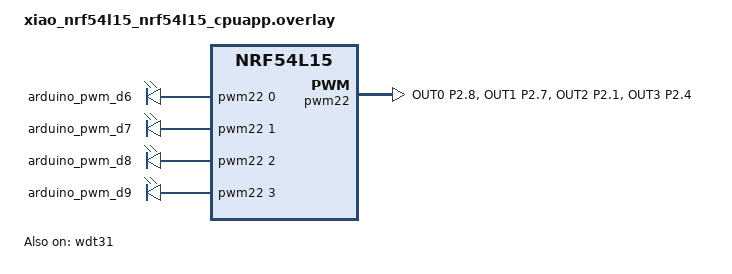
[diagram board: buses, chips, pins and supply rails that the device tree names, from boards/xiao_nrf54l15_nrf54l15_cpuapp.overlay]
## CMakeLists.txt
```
cmake_minimum_required(VERSION 3.20.0)
find_package(Zephyr REQUIRED HINTS $ENV{ZEPHYR_BASE})
project(arduino_base)

target_sources(app PRIVATE src/main.cpp)
```

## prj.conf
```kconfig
CONFIG_GPIO=y
CONFIG_ADC=y
CONFIG_I2C=y
CONFIG_SPI=y
CONFIG_PWM=y
CONFIG_COUNTER=y
CONFIG_I2S=y
CONFIG_SERIAL=y
CONFIG_UART_USE_RUNTIME_CONFIGURE=y
CONFIG_CONSOLE=y
CONFIG_UART_CONSOLE=y
CONFIG_PRINTK=y
CONFIG_WATCHDOG=y
CONFIG_AUDIO=y
CONFIG_AUDIO_DMIC=y

CONFIG_CPP=y
CONFIG_STD_CPP20=y
CONFIG_NEWLIB_LIBC=n

CONFIG_MAIN_STACK_SIZE=4096
CONFIG_HEAP_MEM_POOL_SIZE=8192
```

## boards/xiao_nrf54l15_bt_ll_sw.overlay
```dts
/ {
    chosen {
        zephyr,bt-hci = &bt_hci_controller;
    };
};

&bt_hci_controller {
    status = "okay";
};

&bt_hci_sdc {
    status = "disabled";
};
```

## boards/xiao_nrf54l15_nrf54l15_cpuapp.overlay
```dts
/ {
    aliases {
        arduino-adc = &arduino_adc_channels;
        pwm0 = &arduino_pwm_d6;
        pwm1 = &arduino_pwm_d7;
        pwm2 = &arduino_pwm_d8;
        pwm3 = &arduino_pwm_d9;
        arduino-dmic = &pdm20;
        arduino-counter = &grtc;
    };

    arduino_adc_channels: arduino_adc_channels {
        io-channels = <&adc 0>,
                      <&adc 1>,
                      <&adc 2>,
                      <&adc 3>,
                      <&adc 4>,
                      <&adc 5>,
                      <&adc 6>,
                      <&adc 7>;
    };

    arduino_pwm {
        compatible = "pwm-leds";

        arduino_pwm_d6: pwm_d6 {
            pwms = <&pwm22 0 2000000 0>;
        };

        arduino_pwm_d7: pwm_d7 {
            pwms = <&pwm22 1 2000000 0>;
        };

        arduino_pwm_d8: pwm_d8 {
            pwms = <&pwm22 2 2000000 0>;
        };

        arduino_pwm_d9: pwm_d9 {
            pwms = <&pwm22 3 2000000 0>;
        };
    };
};

&pwm22 {
    status = "okay";
    pinctrl-0 = <&pwm22_default>;
    pinctrl-1 = <&pwm22_sleep>;
    pinctrl-names = "default", "sleep";
};

&wdt31 {
    status = "okay";
};


&pinctrl {
    pwm22_default: pwm22_default {
        group1 {
            psels = <NRF_PSEL(PWM_OUT0, 2, 8)>,
                    <NRF_PSEL(PWM_OUT1, 2, 7)>,
                    <NRF_PSEL(PWM_OUT2, 2, 1)>,
                    <NRF_PSEL(PWM_OUT3, 2, 4)>;
        };
    };

    pwm22_sleep: pwm22_sleep {
        group1 {
            psels = <NRF_PSEL(PWM_OUT0, 2, 8)>,
                    <NRF_PSEL(PWM_OUT1, 2, 7)>,
                    <NRF_PSEL(PWM_OUT2, 2, 1)>,
                    <NRF_PSEL(PWM_OUT3, 2, 4)>;
            low-power-enable;
        };
    };
};
```

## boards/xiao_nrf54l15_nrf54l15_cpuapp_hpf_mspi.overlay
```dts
/ {
    soc {
        reserved-memory {
            #address-cells = <1>;
            #size-cells = <1>;

            cpuflpr_code_partition: image@179400 {
                reg = <0x179400 DT_SIZE_K(15)>;
            };

            sram_rx: memory@2003b400 {
                reg = <0x2003b400 0x07f0>;
            };

            sram_tx: memory@2003bbf0 {
                reg = <0x2003bbf0 0x07f0>;
            };

            cpuflpr_error_code: memory@2003c3e0 {
                reg = <0x2003c3e0 0x0020>;
            };
        };

        cpuflpr_sram_code_data: memory@2003c400 {
            compatible = "mmio-sram";
            reg = <0x2003c400 DT_SIZE_K(15)>;
            #address-cells = <1>;
            #size-cells = <1>;
            ranges = <0x0 0x2003c400 0x3c00>;
        };
    };

    ipc {
        ipc0: ipc0 {
            compatible = "zephyr,ipc-icmsg";
            tx-region = <&sram_tx>;
            rx-region = <&sram_rx>;
            mboxes = <&cpuapp_vevif_rx 20>, <&cpuapp_vevif_tx 16>;
            mbox-names = "rx", "tx";
            status = "okay";
        };
    };
};

&cpuapp_rram {
    reg = <0x0 DT_SIZE_K(1509)>;
    ranges = <0x0 0x0 DT_SIZE_K(1509)>;
    #address-cells = <1>;
    #size-cells = <1>;
};

&cpuapp_sram {
    reg = <0x20000000 DT_SIZE_K(237)>;
    ranges = <0x0 0x20000000 0x3b400>;
};

&cpuflpr_vpr {
    execution-memory = <&cpuflpr_sram_code_data>;
    source-memory = <&cpuflpr_code_partition>;
    status = "okay";

    hpf_mspi: hpf_mspi {
        compatible = "nordic,hpf-mspi-controller";
        software-multiperipheral;
        #address-cells = <1>;
        #size-cells = <0>;
    };
};

&gpio2 {
    status = "okay";
};

&cpuapp_vevif_rx {
    status = "okay";
};

&cpuapp_vevif_tx {
    status = "okay";
};

fault_timer: &timer20 {
    status = "okay";
    prescaler = <4>;
};

&pinctrl {
    hpf_mspi_default: hpf_mspi_default {
        group1 {
            psels = <NRF_PSEL(HPF_MSPI_SCK, 2, 1)>,
                    <NRF_PSEL(HPF_MSPI_DQ0, 2, 2)>,
                    <NRF_PSEL(HPF_MSPI_DQ1, 2, 4)>,
                    <NRF_PSEL(HPF_MSPI_DQ2, 2, 3)>,
                    <NRF_PSEL(HPF_MSPI_DQ3, 2, 0)>,
                    <NRF_PSEL(HPF_MSPI_CS0, 2, 5)>;
            nordic,drive-mode = <NRF_DRIVE_S0S1>;
        };
    };

    hpf_mspi_sleep: hpf_mspi_sleep {
        group1 {
            psels = <NRF_PSEL(HPF_MSPI_SCK, 2, 1)>,
                    <NRF_PSEL(HPF_MSPI_DQ0, 2, 2)>,
                    <NRF_PSEL(HPF_MSPI_DQ1, 2, 4)>,
                    <NRF_PSEL(HPF_MSPI_DQ2, 2, 3)>,
                    <NRF_PSEL(HPF_MSPI_DQ3, 2, 0)>,
                    <NRF_PSEL(HPF_MSPI_CS0, 2, 5)>;
            low-power-enable;
        };
    };
};

&hpf_mspi {
    clock-frequency = <DT_FREQ_M(64)>;
    pinctrl-0 = <&hpf_mspi_default>;
    pinctrl-1 = <&hpf_mspi_sleep>;
    pinctrl-names = "default", "sleep";
    status = "okay";
};
```

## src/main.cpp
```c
#include <zephyr/kernel.h>

extern "C" void __attribute__((weak)) init(void) {}
extern "C" void __attribute__((weak)) initVariant(void) {}
extern "C" void __attribute__((weak)) yield(void)
{
    k_yield();
}

extern "C" void setup(void) __attribute__((weak));
extern "C" void loop(void) __attribute__((weak));

int __attribute__((weak)) main(void)
{
    init();
    initVariant();
    if (setup != nullptr) {
        setup();
    }

    while (true) {
        if (loop != nullptr) {
            loop();
        }
        yield();
    }

    return 0;
}
```
